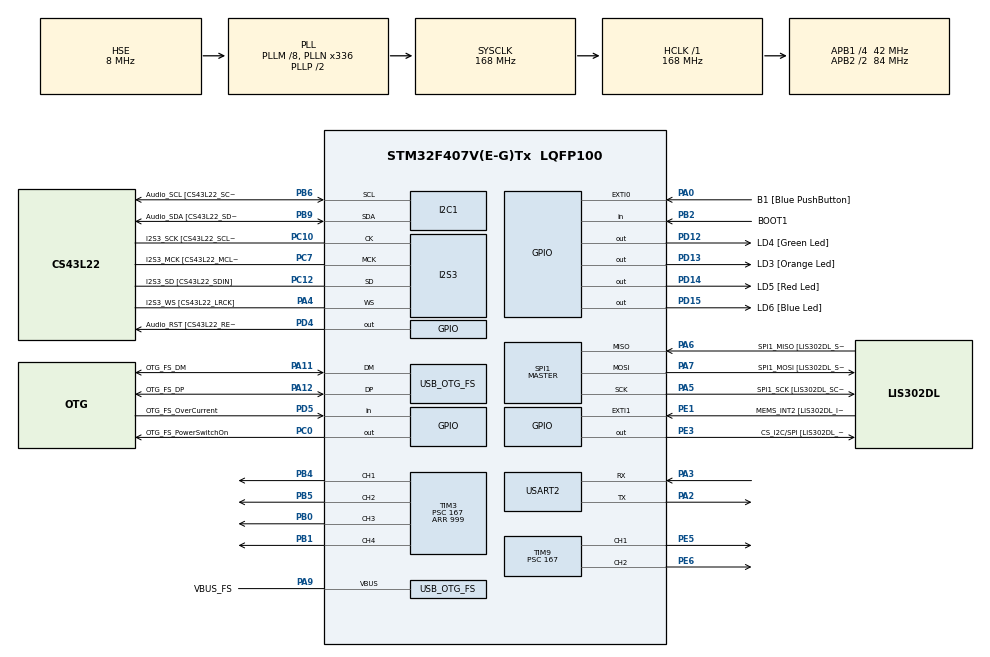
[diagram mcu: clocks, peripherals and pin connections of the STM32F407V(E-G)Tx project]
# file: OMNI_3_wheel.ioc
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I2S3.AudioFreq-Half_Duplex_Master=I2S_AUDIOFREQ_96K
I2S3.ErrorAudioFreq=-2.34 %
I2S3.ErrorAudioFreq-Half_Duplex_Master=0.8 %
I2S3.FullDuplexMode=I2S_FULLDUPLEXMODE_DISABLE
I2S3.Instance=SPI$Index
I2S3.RealAudioFreq=93.75 KHz
I2S3.RealAudioFreq-Half_Duplex_Master=96.774 KHz
I2S3.VirtualMode=I2S_MODE_MASTER
Mcu.Family=STM32F4
Mcu.Name=STM32F407V(E-G)Tx
Mcu.Package=LQFP100
NVIC.OTG_FS_IRQn=true\:0\:0\:false\:false\:true\:true\:true\:true
NVIC.PriorityGroup=NVIC_PRIORITYGROUP_0
NVIC.TIM1_BRK_TIM9_IRQn=true\:0\:0\:false\:false\:true\:true\:true\:true
NVIC.TIM3_IRQn=true\:0\:0\:false\:false\:true\:true\:true\:true
NVIC.USART2_IRQn=true\:0\:0\:false\:false\:true\:true\:true\:true
PA0-WKUP.GPIO_Label=B1 [Blue PushButton]
PA0-WKUP.GPIO_ModeDefaultEXTI=GPIO_MODE_EVT_RISING
PA0-WKUP.GPIO_PuPd=GPIO_NOPULL
PA0-WKUP.Signal=GPXTI0
PA10.GPIO_Label=OTG_FS_ID
PA10.GPIO_Mode=GPIO_MODE_AF_PP
PA10.GPIO_PuPd=GPIO_NOPULL
PA10.GPIO_Speed=GPIO_SPEED_FREQ_LOW
PA10.Signal=USB_OTG_FS_ID
PA11.GPIO_Label=OTG_FS_DM
PA11.GPIO_Mode=GPIO_MODE_AF_PP
PA11.GPIO_PuPd=GPIO_NOPULL
PA11.GPIO_Speed=GPIO_SPEED_FREQ_LOW
PA11.Mode=Host_Only
PA11.Signal=USB_OTG_FS_DM
PA12.GPIO_Label=OTG_FS_DP
PA12.GPIO_Mode=GPIO_MODE_AF_PP
PA12.GPIO_PuPd=GPIO_NOPULL
PA12.GPIO_Speed=GPIO_SPEED_FREQ_LOW
PA12.Mode=Host_Only
PA12.Signal=USB_OTG_FS_DP
PA13.GPIO_Label=SWDIO
PA13.Mode=Serial_Wire
PA13.Signal=SYS_JTMS-SWDIO
PA14.GPIO_Label=SWCLK
PA14.Mode=Serial_Wire
PA14.Signal=SYS_JTCK-SWCLK
PA2.Mode=Asynchronous
PA2.Signal=USART2_TX
PA3.Mode=Asynchronous
PA3.Signal=USART2_RX
PA4.GPIO_Label=I2S3_WS [CS43L22_LRCK]
PA4.GPIO_Mode=GPIO_MODE_AF_PP
PA4.GPIO_PuPd=GPIO_NOPULL
PA4.GPIO_Speed=GPIO_SPEED_FREQ_LOW
PA4.Mode=Half_Duplex_Master
PA4.Signal=I2S3_WS
PA5.GPIO_Label=SPI1_SCK [LIS302DL_SCL/SPC]
PA5.GPIO_Mode=GPIO_MODE_AF_PP
PA5.GPIO_PuPd=GPIO_NOPULL
PA5.GPIO_Speed=GPIO_SPEED_FREQ_LOW
PA5.Mode=Full_Duplex_Master
PA5.Signal=SPI1_SCK
PA6.GPIO_Label=SPI1_MISO [LIS302DL_SDO]
PA6.GPIO_Mode=GPIO_MODE_AF_PP
PA6.GPIO_PuPd=GPIO_NOPULL
PA6.GPIO_Speed=GPIO_SPEED_FREQ_LOW
PA6.Mode=Full_Duplex_Master
PA6.Signal=SPI1_MISO
PA7.GPIO_Label=SPI1_MOSI [LIS302DL_SDA/SDI/SDO]
PA7.GPIO_Mode=GPIO_MODE_AF_PP
PA7.GPIO_PuPd=GPIO_NOPULL
PA7.GPIO_Speed=GPIO_SPEED_FREQ_LOW
PA7.Mode=Full_Duplex_Master
PA7.Signal=SPI1_MOSI
PA9.GPIO_Label=VBUS_FS
PA9.GPIO_Mode=GPIO_MODE_INPUT
PA9.GPIO_PuPd=GPIO_NOPULL
PA9.Mode=Activate_VBUS
PA9.Signal=USB_OTG_FS_VBUS
PB0.Signal=S_TIM3_CH3
PB1.Signal=S_TIM3_CH4
PB10.GPIO_Label=CLK_IN [MP45DT02_CLK]
PB10.GPIO_Mode=GPIO_MODE_AF_PP
PB10.GPIO_PuPd=GPIO_NOPULL
PB10.GPIO_Speed=GPIO_SPEED_FREQ_LOW
PB10.Signal=I2S2_CK
PB2.GPIO_Label=BOOT1
PB2.GPIO_Mode=GPIO_MODE_INPUT
PB2.GPIO_PuPd=GPIO_NOPULL
PB2.Signal=GPIO_Input
PB3.GPIO_Label=SWO
PB3.Signal=SYS_JTDO-SWO
PB4.Signal=S_TIM3_CH1
PB5.Signal=S_TIM3_CH2
PB6.GPIO_Label=Audio_SCL [CS43L22_SCL]
PB6.GPIO_Mode=GPIO_MODE_AF_OD
PB6.GPIO_Pu=GPIO_PULLUP
PB6.GPIO_PuPd=GPIO_NOPULL
PB6.GPIO_Speed=GPIO_SPEED_FREQ_LOW
PB6.Mode=I2C
PB6.Signal=I2C1_SCL
PB9.GPIO_Label=Audio_SDA [CS43L22_SDA]
PB9.GPIO_Mode=GPIO_MODE_AF_OD
PB9.GPIO_Pu=GPIO_PULLUP
PB9.GPIO_PuPd=GPIO_NOPULL
PB9.GPIO_Speed=GPIO_SPEED_FREQ_LOW
PB9.Mode=I2C
PB9.Signal=I2C1_SDA
PC0.GPIO_Label=OTG_FS_PowerSwitchOn
PC0.GPIO_PuPd=GPIO_NOPULL
PC0.GPIO_Speed=GPIO_SPEED_FREQ_LOW
PC0.PinState=GPIO_PIN_SET
PC0.Signal=GPIO_Output
PC10.GPIO_Label=I2S3_SCK [CS43L22_SCLK]
PC10.GPIO_Mode=GPIO_MODE_AF_PP
PC10.GPIO_PuPd=GPIO_NOPULL
PC10.GPIO_Speed=GPIO_SPEED_FREQ_LOW
PC10.Mode=Half_Duplex_Master
PC10.Signal=I2S3_CK
PC12.GPIO_Label=I2S3_SD [CS43L22_SDIN]
PC12.GPIO_Mode=GPIO_MODE_AF_PP
PC12.GPIO_PuPd=GPIO_NOPULL
PC12.GPIO_Speed=GPIO_SPEED_FREQ_LOW
PC12.Mode=Half_Duplex_Master
PC12.Signal=I2S3_SD
PC14-OSC32_IN.GPIO_Label=PC14-OSC32_IN
PC14-OSC32_IN.Mode=LSE-External-Oscillator
PC14-OSC32_IN.Signal=RCC_OSC32_IN
PC15-OSC32_OUT.GPIO_Label=PC15-OSC32_OUT
PC15-OSC32_OUT.Mode=LSE-External-Oscillator
PC15-OSC32_OUT.Signal=RCC_OSC32_OUT
PC3.GPIO_Label=PDM_OUT [MP45DT02_DOUT]
PC3.GPIO_Mode=GPIO_MODE_AF_PP
PC3.GPIO_PuPd=GPIO_NOPULL
PC3.GPIO_Speed=GPIO_SPEED_FREQ_LOW
PC3.Signal=I2S2_SD
PC7.GPIO_Label=I2S3_MCK [CS43L22_MCLK]
PC7.GPIO_Mode=GPIO_MODE_AF_PP
PC7.GPIO_PuPd=GPIO_NOPULL
PC7.GPIO_Speed=GPIO_SPEED_FREQ_LOW
PC7.Mode=Master_Clock_Activated
PC7.Signal=I2S3_MCK
PD12.GPIO_Label=LD4 [Green Led]
PD12.GPIO_PuPd=GPIO_NOPULL
PD12.GPIO_Speed=GPIO_SPEED_FREQ_LOW
PD12.Signal=GPIO_Output
PD13.GPIO_Label=LD3 [Orange Led]
PD13.GPIO_PuPd=GPIO_NOPULL
PD13.GPIO_Speed=GPIO_SPEED_FREQ_LOW
PD13.Signal=GPIO_Output
PD14.GPIO_Label=LD5 [Red Led]
PD14.GPIO_PuPd=GPIO_NOPULL
PD14.GPIO_Speed=GPIO_SPEED_FREQ_LOW
PD14.Signal=GPIO_Output
PD15.GPIO_Label=LD6 [Blue Led]
PD15.GPIO_PuPd=GPIO_NOPULL
PD15.GPIO_Speed=GPIO_SPEED_FREQ_LOW
PD15.Signal=GPIO_Output
PD4.GPIO_Label=Audio_RST [CS43L22_RESET]
PD4.GPIO_PuPd=GPIO_NOPULL
PD4.GPIO_Speed=GPIO_SPEED_FREQ_LOW
PD4.Signal=GPIO_Output
PD5.GPIO_Label=OTG_FS_OverCurrent
PD5.GPIO_Mode=GPIO_MODE_INPUT
PD5.GPIO_PuPd=GPIO_NOPULL
PD5.Signal=GPIO_Input
PE1.GPIO_Label=MEMS_INT2 [LIS302DL_INT2]
PE1.GPIO_ModeDefaultEXTI=GPIO_MODE_EVT_RISING
PE1.GPIO_PuPd=GPIO_NOPULL
PE1.Signal=GPXTI1
PE3.GPIO_Label=CS_I2C/SPI [LIS302DL_CS_I2C/SPI]
PE3.GPIO_PuPd=GPIO_NOPULL
PE3.GPIO_Speed=GPIO_SPEED_FREQ_LOW
PE3.Signal=GPIO_Output
PE5.Signal=S_TIM9_CH1
PE6.Signal=S_TIM9_CH2
PH0-OSC_IN.GPIO_Label=PH0-OSC_IN
PH0-OSC_IN.Mode=HSE-External-Oscillator
PH0-OSC_IN.Signal=RCC_OSC_IN
PH1-OSC_OUT.GPIO_Label=PH1-OSC_OUT
PH1-OSC_OUT.Mode=HSE-External-Oscillator
PH1-OSC_OUT.Signal=RCC_OSC_OUT
ProjectManager.HeapSize=0x200
ProjectManager.StackSize=0x400
ProjectManager.TargetToolchain=STM32CubeIDE
RCC.48MHZClocksFreq_Value=48000000
RCC.AHBFreq_Value=168000000
RCC.APB1CLKDivider=RCC_HCLK_DIV4
RCC.APB1Freq_Value=42000000
RCC.APB1TimFreq_Value=84000000
RCC.APB2CLKDivider=RCC_HCLK_DIV2
RCC.APB2Freq_Value=84000000
RCC.APB2TimFreq_Value=168000000
RCC.CortexFreq_Value=168000000
RCC.HCLKFreq_Value=168000000
RCC.HSE_VALUE=8000000
RCC.HSI_VALUE=16000000
RCC.PLLM=8
RCC.PLLN=336
RCC.PLLQ=7
RCC.SYSCLKFreq_VALUE=168000000
RCC.SYSCLKSource=RCC_SYSCLKSOURCE_PLLCLK
RCC.VCOOutputFreq_Value=336000000
SH.S_TIM3_CH1.0=TIM3_CH1,PWM Generation1 CH1
SH.S_TIM3_CH2.0=TIM3_CH2,PWM Generation2 CH2
SH.S_TIM3_CH3.0=TIM3_CH3,PWM Generation3 CH3
SH.S_TIM3_CH4.0=TIM3_CH4,PWM Generation4 CH4
SH.S_TIM9_CH1.0=TIM9_CH1,PWM Generation1 CH1
SH.S_TIM9_CH2.0=TIM9_CH2,PWM Generation2 CH2
SPI1.BaudRatePrescaler-Full_Duplex_Master=SPI_BAUDRATEPRESCALER_2
SPI1.CalculateBaudRate-Full_Duplex_Master=42.0 MBits/s
SPI1.Direction=SPI_DIRECTION_2LINES
SPI1.Mode=SPI_MODE_MASTER
SPI1.Mode-Full_Duplex_Master=SPI_MODE_MASTER
SPI1.VirtualType=VM_MASTER
TIM3.Channel-PWM\ Generation1\ CH1=TIM_CHANNEL_1
TIM3.Channel-PWM\ Generation2\ CH2=TIM_CHANNEL_2
TIM3.Channel-PWM\ Generation3\ CH3=TIM_CHANNEL_3
TIM3.Channel-PWM\ Generation4\ CH4=TIM_CHANNEL_4
TIM3.Period=999
TIM3.Prescaler=167
TIM9.Channel-PWM\ Generation1\ CH1=TIM_CHANNEL_1
TIM9.Channel-PWM\ Generation2\ CH2=TIM_CHANNEL_2
TIM9.Period=999
TIM9.Prescaler=167
USART2.VirtualMode=VM_ASYNC
USB_HOST.BSP.number=1
USB_HOST.USBH_HandleTypeDef-CDC_FS=hUsbHostFS
USB_HOST.VirtualModeFS=Cdc
USB_HOST0.BSP.STBoard=false
USB_HOST0.BSP.api=Unknown
USB_HOST0.BSP.instance=PC0
USB_HOST0.BSP.ip=GPIO
USB_HOST0.BSP.mode=Output
USB_HOST0.BSP.name=Drive_VBUS_FS
USB_HOST0.BSP.solution=PC0
USB_OTG_FS.VirtualMode=Host_Only
USB_OTG_FS.phy_itface=HCD_PHY_EMBEDDED
VP_TIM3_VS_ClockSourceINT.Mode=Internal
VP_TIM9_VS_ClockSourceINT.Mode=Internal
VP_USB_HOST_VS_USB_HOST_CDC_FS.Mode=CDC_FS
board=STM32F407G-DISC1

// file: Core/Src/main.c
/* USER CODE BEGIN Header */
/**
  ******************************************************************************
  * @file           : main.c
  * @brief          : Main program body
  ******************************************************************************
  * @attention
  *
  * Copyright (c) 2026 STMicroelectronics.
  * All rights reserved.
  *
  * This software is licensed under terms that can be found in the LICENSE file
  * in the root directory of this software component.
  * If no LICENSE file comes with this software, it is provided AS-IS.
  *
  ******************************************************************************
  */
/* USER CODE END Header */
#include "main.h"
#include "usb_host.h"

/* USER CODE BEGIN Includes */
#include <stdbool.h>
#include <math.h>
/* USER CODE END Includes */

/* USER CODE BEGIN PD */
#define M_PI 3.14159265358979323846
/* USER CODE END PD */

I2C_HandleTypeDef hi2c1;

I2S_HandleTypeDef hi2s3;

SPI_HandleTypeDef hspi1;

TIM_HandleTypeDef htim3;
TIM_HandleTypeDef htim9;

UART_HandleTypeDef huart2;

void SystemClock_Config(void);
static void MX_GPIO_Init(void);
static void MX_I2C1_Init(void);
static void MX_I2S3_Init(void);
static void MX_SPI1_Init(void);
static void MX_USART2_UART_Init(void);
static void MX_TIM3_Init(void);
static void MX_TIM9_Init(void);
void MX_USB_HOST_Process(void);

/* USER CODE BEGIN PFP */
void update1();
double degree_to_rad(double i);
double rad_to_degree(double i);
void movement();
void motor1(double x1,double x2, double y1,double y2,double z);
void motor2(double x1,double x2, double y1,double y2,double z);
void motor3(double x1,double x2, double y1,double y2,double z);
/* USER CODE END PFP */

/* USER CODE BEGIN 0 */
uint8_t rxdata[7];
uint8_t buttons = 0b00000000;
uint8_t rightstickX = 0b00000000;
uint8_t rightstickY = 0b00000000;
uint8_t leftstickX = 0b00000000;
uint8_t leftstickY = 0b00000000;
uint8_t R2 = 0b00000000;
uint8_t L2 = 0b00000000;
int FRPWMx = 0;
int FLPWMx = 0;
int LRPWMx = 0;
int LLPWMx = 0;
int RRPWMx = 0;
int RLPWMx = 0;
int FRPWMy = 0;
int FLPWMy = 0;
int LRPWMy = 0;
int LLPWMy = 0;
int RRPWMy = 0;
int RLPWMy = 0;

/* USER CODE END 0 */

int main(void)
{

  /* MCU Configuration--------------------------------------------------------*/

  /* Reset of all peripherals, Initializes the Flash interface and the Systick. */
  HAL_Init();

  /* Configure the system clock */
  SystemClock_Config();

  /* Initialize all configured peripherals */
  MX_GPIO_Init();
  MX_I2C1_Init();
  MX_I2S3_Init();
  MX_SPI1_Init();
  MX_USB_HOST_Init();
  MX_USART2_UART_Init();
  MX_TIM3_Init();
  MX_TIM9_Init();
  /* USER CODE BEGIN 2 */
  HAL_UART_Receive_IT(&huart2, rxdata, 7);
  /* USER CODE END 2 */

  /* Infinite loop */
  while (1)
  {
    MX_USB_HOST_Process();

    /* USER CODE BEGIN 3 */
    movement();

  }
  /* USER CODE END 3 */
}

void SystemClock_Config(void)
{
  RCC_OscInitTypeDef RCC_OscInitStruct = {0};
  RCC_ClkInitTypeDef RCC_ClkInitStruct = {0};

  /** Configure the main internal regulator output voltage
  */
  __HAL_RCC_PWR_CLK_ENABLE();
  __HAL_PWR_VOLTAGESCALING_CONFIG(PWR_REGULATOR_VOLTAGE_SCALE1);

  /** Initializes the RCC Oscillators according to the specified parameters
  * in the RCC_OscInitTypeDef structure.
  */
  RCC_OscInitStruct.OscillatorType = RCC_OSCILLATORTYPE_HSE;
  RCC_OscInitStruct.HSEState = RCC_HSE_ON;
  RCC_OscInitStruct.PLL.PLLState = RCC_PLL_ON;
  RCC_OscInitStruct.PLL.PLLSource = RCC_PLLSOURCE_HSE;
  RCC_OscInitStruct.PLL.PLLM = 8;
  RCC_OscInitStruct.PLL.PLLN = 336;
  RCC_OscInitStruct.PLL.PLLP = RCC_PLLP_DIV2;
  RCC_OscInitStruct.PLL.PLLQ = 7;
  if (HAL_RCC_OscConfig(&RCC_OscInitStruct) != HAL_OK)
  {
    Error_Handler();
  }

  /** Initializes the CPU, AHB and APB buses clocks
  */
  RCC_ClkInitStruct.ClockType = RCC_CLOCKTYPE_HCLK|RCC_CLOCKTYPE_SYSCLK
                              |RCC_CLOCKTYPE_PCLK1|RCC_CLOCKTYPE_PCLK2;
  RCC_ClkInitStruct.SYSCLKSource = RCC_SYSCLKSOURCE_PLLCLK;
  RCC_ClkInitStruct.AHBCLKDivider = RCC_SYSCLK_DIV1;
  RCC_ClkInitStruct.APB1CLKDivider = RCC_HCLK_DIV4;
  RCC_ClkInitStruct.APB2CLKDivider = RCC_HCLK_DIV2;

  if (HAL_RCC_ClockConfig(&RCC_ClkInitStruct, FLASH_LATENCY_5) != HAL_OK)
  {
    Error_Handler();
  }
}

static void MX_I2C1_Init(void)
{

  hi2c1.Instance = I2C1;
  hi2c1.Init.ClockSpeed = 100000;
  hi2c1.Init.DutyCycle = I2C_DUTYCYCLE_2;
  hi2c1.Init.OwnAddress1 = 0;
  hi2c1.Init.AddressingMode = I2C_ADDRESSINGMODE_7BIT;
  hi2c1.Init.DualAddressMode = I2C_DUALADDRESS_DISABLE;
  hi2c1.Init.OwnAddress2 = 0;
  hi2c1.Init.GeneralCallMode = I2C_GENERALCALL_DISABLE;
  hi2c1.Init.NoStretchMode = I2C_NOSTRETCH_DISABLE;
  if (HAL_I2C_Init(&hi2c1) != HAL_OK)
  {
    Error_Handler();
  }

}

static void MX_I2S3_Init(void)
{

  hi2s3.Instance = SPI3;
  hi2s3.Init.Mode = I2S_MODE_MASTER_TX;
  hi2s3.Init.Standard = I2S_STANDARD_PHILIPS;
  hi2s3.Init.DataFormat = I2S_DATAFORMAT_16B;
  hi2s3.Init.MCLKOutput = I2S_MCLKOUTPUT_ENABLE;
  hi2s3.Init.AudioFreq = I2S_AUDIOFREQ_96K;
  hi2s3.Init.CPOL = I2S_CPOL_LOW;
  hi2s3.Init.ClockSource = I2S_CLOCK_PLL;
  hi2s3.Init.FullDuplexMode = I2S_FULLDUPLEXMODE_DISABLE;
  if (HAL_I2S_Init(&hi2s3) != HAL_OK)
  {
    Error_Handler();
  }

}

static void MX_SPI1_Init(void)
{

  /* SPI1 parameter configuration*/
  hspi1.Instance = SPI1;
  hspi1.Init.Mode = SPI_MODE_MASTER;
  hspi1.Init.Direction = SPI_DIRECTION_2LINES;
  hspi1.Init.DataSize = SPI_DATASIZE_8BIT;
  hspi1.Init.CLKPolarity = SPI_POLARITY_LOW;
  hspi1.Init.CLKPhase = SPI_PHASE_1EDGE;
  hspi1.Init.NSS = SPI_NSS_SOFT;
  hspi1.Init.BaudRatePrescaler = SPI_BAUDRATEPRESCALER_2;
  hspi1.Init.FirstBit = SPI_FIRSTBIT_MSB;
  hspi1.Init.TIMode = SPI_TIMODE_DISABLE;
  hspi1.Init.CRCCalculation = SPI_CRCCALCULATION_DISABLE;
  hspi1.Init.CRCPolynomial = 10;
  if (HAL_SPI_Init(&hspi1) != HAL_OK)
  {
    Error_Handler();
  }

}

static void MX_TIM3_Init(void)
{

  TIM_ClockConfigTypeDef sClockSourceConfig = {0};
  TIM_MasterConfigTypeDef sMasterConfig = {0};
  TIM_OC_InitTypeDef sConfigOC = {0};

  htim3.Instance = TIM3;
  htim3.Init.Prescaler = 167;
  htim3.Init.CounterMode = TIM_COUNTERMODE_UP;
  htim3.Init.Period = 999;
  htim3.Init.ClockDivision = TIM_CLOCKDIVISION_DIV1;
  htim3.Init.AutoReloadPreload = TIM_AUTORELOAD_PRELOAD_DISABLE;
  if (HAL_TIM_Base_Init(&htim3) != HAL_OK)
  {
    Error_Handler();
  }
  sClockSourceConfig.ClockSource = TIM_CLOCKSOURCE_INTERNAL;
  if (HAL_TIM_ConfigClockSource(&htim3, &sClockSourceConfig) != HAL_OK)
  {
    Error_Handler();
  }
  if (HAL_TIM_PWM_Init(&htim3) != HAL_OK)
  {
    Error_Handler();
  }
  sMasterConfig.MasterOutputTrigger = TIM_TRGO_RESET;
  sMasterConfig.MasterSlaveMode = TIM_MASTERSLAVEMODE_DISABLE;
  if (HAL_TIMEx_MasterConfigSynchronization(&htim3, &sMasterConfig) != HAL_OK)
  {
    Error_Handler();
  }
  sConfigOC.OCMode = TIM_OCMODE_PWM1;
  sConfigOC.Pulse = 0;
  sConfigOC.OCPolarity = TIM_OCPOLARITY_HIGH;
  sConfigOC.OCFastMode = TIM_OCFAST_DISABLE;
  if (HAL_TIM_PWM_ConfigChannel(&htim3, &sConfigOC, TIM_CHANNEL_1) != HAL_OK)
  {
    Error_Handler();
  }
  if (HAL_TIM_PWM_ConfigChannel(&htim3, &sConfigOC, TIM_CHANNEL_2) != HAL_OK)
  {
    Error_Handler();
  }
  if (HAL_TIM_PWM_ConfigChannel(&htim3, &sConfigOC, TIM_CHANNEL_3) != HAL_OK)
  {
    Error_Handler();
  }
  if (HAL_TIM_PWM_ConfigChannel(&htim3, &sConfigOC, TIM_CHANNEL_4) != HAL_OK)
  {
    Error_Handler();
  }
  HAL_TIM_MspPostInit(&htim3);

}

static void MX_TIM9_Init(void)
{

  TIM_ClockConfigTypeDef sClockSourceConfig = {0};
  TIM_OC_InitTypeDef sConfigOC = {0};

  htim9.Instance = TIM9;
  htim9.Init.Prescaler = 167;
  htim9.Init.CounterMode = TIM_COUNTERMODE_UP;
  htim9.Init.Period = 999;
  htim9.Init.ClockDivision = TIM_CLOCKDIVISION_DIV1;
  htim9.Init.AutoReloadPreload = TIM_AUTORELOAD_PRELOAD_DISABLE;
  if (HAL_TIM_Base_Init(&htim9) != HAL_OK)
  {
    Error_Handler();
  }
  sClockSourceConfig.ClockSource = TIM_CLOCKSOURCE_INTERNAL;
  if (HAL_TIM_ConfigClockSource(&htim9, &sClockSourceConfig) != HAL_OK)
  {
    Error_Handler();
  }
  if (HAL_TIM_PWM_Init(&htim9) != HAL_OK)
  {
    Error_Handler();
  }
  sConfigOC.OCMode = TIM_OCMODE_PWM1;
  sConfigOC.Pulse = 0;
  sConfigOC.OCPolarity = TIM_OCPOLARITY_HIGH;
  sConfigOC.OCFastMode = TIM_OCFAST_DISABLE;
  if (HAL_TIM_PWM_ConfigChannel(&htim9, &sConfigOC, TIM_CHANNEL_1) != HAL_OK)
  {
    Error_Handler();
  }
  if (HAL_TIM_PWM_ConfigChannel(&htim9, &sConfigOC, TIM_CHANNEL_2) != HAL_OK)
  {
    Error_Handler();
  }
  HAL_TIM_MspPostInit(&htim9);

}

static void MX_USART2_UART_Init(void)
{

  huart2.Instance = USART2;
  huart2.Init.BaudRate = 115200;
  huart2.Init.WordLength = UART_WORDLENGTH_8B;
  huart2.Init.StopBits = UART_STOPBITS_1;
  huart2.Init.Parity = UART_PARITY_NONE;
  huart2.Init.Mode = UART_MODE_TX_RX;
  huart2.Init.HwFlowCtl = UART_HWCONTROL_NONE;
  huart2.Init.OverSampling = UART_OVERSAMPLING_16;
  if (HAL_UART_Init(&huart2) != HAL_OK)
  {
    Error_Handler();
  }

}

static void MX_GPIO_Init(void)
{
  GPIO_InitTypeDef GPIO_InitStruct = {0};

  /* GPIO Ports Clock Enable */
  __HAL_RCC_GPIOE_CLK_ENABLE();
  __HAL_RCC_GPIOC_CLK_ENABLE();
  __HAL_RCC_GPIOH_CLK_ENABLE();
  __HAL_RCC_GPIOA_CLK_ENABLE();
  __HAL_RCC_GPIOB_CLK_ENABLE();
  __HAL_RCC_GPIOD_CLK_ENABLE();

  /*Configure GPIO pin Output Level */
  HAL_GPIO_WritePin(CS_I2C_SPI_GPIO_Port, CS_I2C_SPI_Pin, GPIO_PIN_RESET);

  /*Configure GPIO pin Output Level */
  HAL_GPIO_WritePin(OTG_FS_PowerSwitchOn_GPIO_Port, OTG_FS_PowerSwitchOn_Pin, GPIO_PIN_SET);

  /*Configure GPIO pin Output Level */
  HAL_GPIO_WritePin(GPIOD, LD4_Pin|LD3_Pin|LD5_Pin|LD6_Pin
                          |Audio_RST_Pin, GPIO_PIN_RESET);

  /*Configure GPIO pin : CS_I2C_SPI_Pin */
  GPIO_InitStruct.Pin = CS_I2C_SPI_Pin;
  GPIO_InitStruct.Mode = GPIO_MODE_OUTPUT_PP;
  GPIO_InitStruct.Pull = GPIO_NOPULL;
  GPIO_InitStruct.Speed = GPIO_SPEED_FREQ_LOW;
  HAL_GPIO_Init(CS_I2C_SPI_GPIO_Port, &GPIO_InitStruct);

  /*Configure GPIO pin : OTG_FS_PowerSwitchOn_Pin */
  GPIO_InitStruct.Pin = OTG_FS_PowerSwitchOn_Pin;
  GPIO_InitStruct.Mode = GPIO_MODE_OUTPUT_PP;
  GPIO_InitStruct.Pull = GPIO_NOPULL;
  GPIO_InitStruct.Speed = GPIO_SPEED_FREQ_LOW;
  HAL_GPIO_Init(OTG_FS_PowerSwitchOn_GPIO_Port, &GPIO_InitStruct);

  /*Configure GPIO pin : PDM_OUT_Pin */
  GPIO_InitStruct.Pin = PDM_OUT_Pin;
  GPIO_InitStruct.Mode = GPIO_MODE_AF_PP;
  GPIO_InitStruct.Pull = GPIO_NOPULL;
  GPIO_InitStruct.Speed = GPIO_SPEED_FREQ_LOW;
  GPIO_InitStruct.Alternate = GPIO_AF5_SPI2;
  HAL_GPIO_Init(PDM_OUT_GPIO_Port, &GPIO_InitStruct);

  /*Configure GPIO pin : B1_Pin */
  GPIO_InitStruct.Pin = B1_Pin;
  GPIO_InitStruct.Mode = GPIO_MODE_EVT_RISING;
  GPIO_InitStruct.Pull = GPIO_NOPULL;
  HAL_GPIO_Init(B1_GPIO_Port, &GPIO_InitStruct);

  /*Configure GPIO pin : BOOT1_Pin */
  GPIO_InitStruct.Pin = BOOT1_Pin;
  GPIO_InitStruct.Mode = GPIO_MODE_INPUT;
  GPIO_InitStruct.Pull = GPIO_NOPULL;
  HAL_GPIO_Init(BOOT1_GPIO_Port, &GPIO_InitStruct);

  /*Configure GPIO pin : CLK_IN_Pin */
  GPIO_InitStruct.Pin = CLK_IN_Pin;
  GPIO_InitStruct.Mode = GPIO_MODE_AF_PP;
  GPIO_InitStruct.Pull = GPIO_NOPULL;
  GPIO_InitStruct.Speed = GPIO_SPEED_FREQ_LOW;
  GPIO_InitStruct.Alternate = GPIO_AF5_SPI2;
  HAL_GPIO_Init(CLK_IN_GPIO_Port, &GPIO_InitStruct);

  /*Configure GPIO pins : LD4_Pin LD3_Pin LD5_Pin LD6_Pin
                           Audio_RST_Pin */
  GPIO_InitStruct.Pin = LD4_Pin|LD3_Pin|LD5_Pin|LD6_Pin
                          |Audio_RST_Pin;
  GPIO_InitStruct.Mode = GPIO_MODE_OUTPUT_PP;
  GPIO_InitStruct.Pull = GPIO_NOPULL;
  GPIO_InitStruct.Speed = GPIO_SPEED_FREQ_LOW;
  HAL_GPIO_Init(GPIOD, &GPIO_InitStruct);

  /*Configure GPIO pin : OTG_FS_OverCurrent_Pin */
  GPIO_InitStruct.Pin = OTG_FS_OverCurrent_Pin;
  GPIO_InitStruct.Mode = GPIO_MODE_INPUT;
  GPIO_InitStruct.Pull = GPIO_NOPULL;
  HAL_GPIO_Init(OTG_FS_OverCurrent_GPIO_Port, &GPIO_InitStruct);

  /*Configure GPIO pin : MEMS_INT2_Pin */
  GPIO_InitStruct.Pin = MEMS_INT2_Pin;
  GPIO_InitStruct.Mode = GPIO_MODE_EVT_RISING;
  GPIO_InitStruct.Pull = GPIO_NOPULL;
  HAL_GPIO_Init(MEMS_INT2_GPIO_Port, &GPIO_InitStruct);

}

/* USER CODE BEGIN 4 */
long map(long x, long in_min, long in_max, long out_min, long out_max) {
  return (x - in_min) * (out_max - out_min) / (in_max - in_min) + out_min;
}

void HAL_UART_RxCpltCallback(UART_HandleTypeDef *huart)
  {
	buttons = rxdata[0];
	rightstickX = rxdata[1];
	rightstickY = rxdata[2];
	leftstickX = rxdata[3];
	leftstickY = rxdata[4];
	R2 = rxdata[5];
	L2 = rxdata[6];
	HAL_UART_Receive_IT(&huart2, rxdata, 7);
  }
double degree_to_rad(double i)
{
	return i*M_PI/180;
}

double rad_to_degree(double i)
{
	return i*180/M_PI;
}

void movement()
{
	int x = leftstickX-128;
	int y = leftstickY-128;
	int omega;
	int R = R2;
	int L = L2;
	if(x>0)
	{

		RRPWMx = 0;                        // RIGHT motor RPWM
		RLPWMx = x/cos(degree_to_rad(60)); // RIGHT motor LPWM
		LRPWMx = 0;                        // LEFT motor RPWM
		LLPWMx = x/cos(degree_to_rad(60)); // LEFT motor LPWM
		FRPWMx = x;                        // FRONT motor RPWM
		FLPWMx = 0;                        // FRONT motor LPWM
	}
	else
	{
		RRPWMx = -x/cos(degree_to_rad(60)); // RIGHT motor RPWM
		RLPWMx = 0;                        // RIGHT motor LPWM
		LRPWMx = -x/cos(degree_to_rad(60)); // LEFT motor RPWM
		LLPWMx = 0;                        // LEFT motor LPWM
		FRPWMx = 0;                        // FRONT motor RPWM
		FLPWMx = -x;                        // FRONT motor LPWM
	}
	if(y>0)
	{
		RRPWMy = 0;
		RLPWMy = y/sin(degree_to_rad(60));
		LRPWMy = y/sin(degree_to_rad(60));
		LLPWMy = 0;
		FRPWMy = 0;
		FLPWMy = 0;
	}
	else
	{
		RRPWMy = -y/sin(degree_to_rad(60));
		RLPWMy = 0;
		LRPWMy = 0;
		LLPWMy = -y/sin(degree_to_rad(60));
		FRPWMy = 0;
		FLPWMy = 0;
	}
	if(R>L)
	{
		omega = R-L;
		omega = map(omega,0,255,0,128);
	}
	else
	{
		omega = R - L;
		omega = map(omega,-255,0,-128,0);
	}
	motor1(RRPWMx,RLPWMx,RRPWMy,RLPWMy,omega);
	motor2(LRPWMx,LLPWMx,LRPWMy,LLPWMy,omega);
	motor3(FRPWMx,FLPWMx,FRPWMy,FLPWMy,omega);
}

void motor1(double x1,double x2, double y1,double y2,double z)
{
	if(x1+x2+y1+y2+z>0)
	{
		TIM3->CCR1 = (x1+x2+y1+y2+z)*10/128;
		TIM3->CCR2 = 0;
	}
	else
	{
		TIM3->CCR1 = 0;
		TIM3->CCR2 = -(x1+x2+y1+y2+z)*10/128;
	}
}

void motor2(double x1,double x2, double y1,double y2,double z)
{
	if(x1+x2+y1+y2+z>0)
		{
			TIM3->CCR4 = (x1+x2+y1+y2+z)*10/128;
			TIM3->CCR3 = 0;
		}
		else
		{
			TIM3->CCR4 = 0;
			TIM3->CCR3 = -(x1+x2+y1+y2+z)*10/128;
		}
}

void motor3(double x1,double x2, double y1,double y2,double z)
{
	if(x1+x2+y1+y2+z>0)
		{
			TIM9->CCR1 = (x1+x2+y1+y2+z)*10/128;
			TIM9->CCR2 = 0;
		}
		else
		{
			TIM9->CCR1 = 0;
			TIM9->CCR2 = -(x1+x2+y1+y2+z)*10/128;
		}
}
/* USER CODE END 4 */

void Error_Handler(void)
{
  __disable_irq();
  while (1)
  {
  }
}
